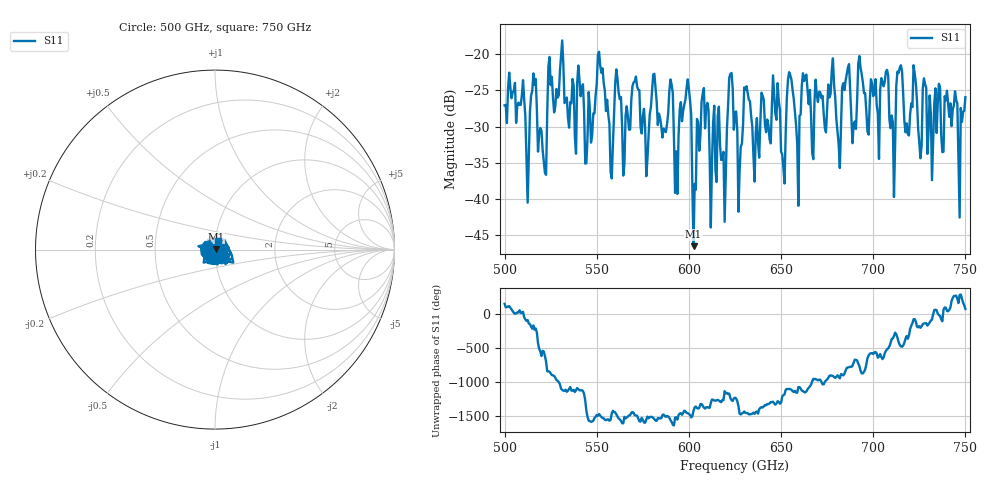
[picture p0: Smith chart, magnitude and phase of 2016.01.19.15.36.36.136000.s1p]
!Created with skrf (http://scikit-rf.org).
# GHz S RI R 50.0
!freq ReS11 ImS11
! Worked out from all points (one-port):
!   401 points, 500 GHz to 750 GHz, reference 50 ohm
!   lowest |S11| = -46.6 dB at 602.5 GHz (marker M1), VSWR 1.01, Z = 50.4 + j0.168 ohm
!   |S11| at or under -10 dB: start of sweep to end of sweep
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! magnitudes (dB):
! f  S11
! 500 GHz  -27.1
! 512.5 GHz  -40.6
! 515.6 GHz  -22.6
! 521.2 GHz  -34.8
! 524.4 GHz  -20.3
! 531.2 GHz  -18.1
! 544.4 GHz  -35.1
! 551.9 GHz  -21.5
! 557.5 GHz  -36.3
! 562.5 GHz  -26.2
! 590 GHz  -23.5
! 593.8 GHz  -39.4
! 599.4 GHz  -23.5
! 602.5 GHz  -46.6
! 608.1 GHz  -24.7
! 618.8 GHz  -33.5
! 622.5 GHz  -22.7
! 625 GHz  -28.1
! 646.9 GHz  -28.2
! 651.2 GHz  -35.7
! 656.2 GHz  -25.0
! 659.4 GHz  -41.0
! 687.5 GHz  -25.0
! 706.9 GHz  -22.4
! 710.6 GHz  -29.4
! 714.4 GHz  -21.9
! 718.8 GHz  -31.0
! 750 GHz  -25.9
